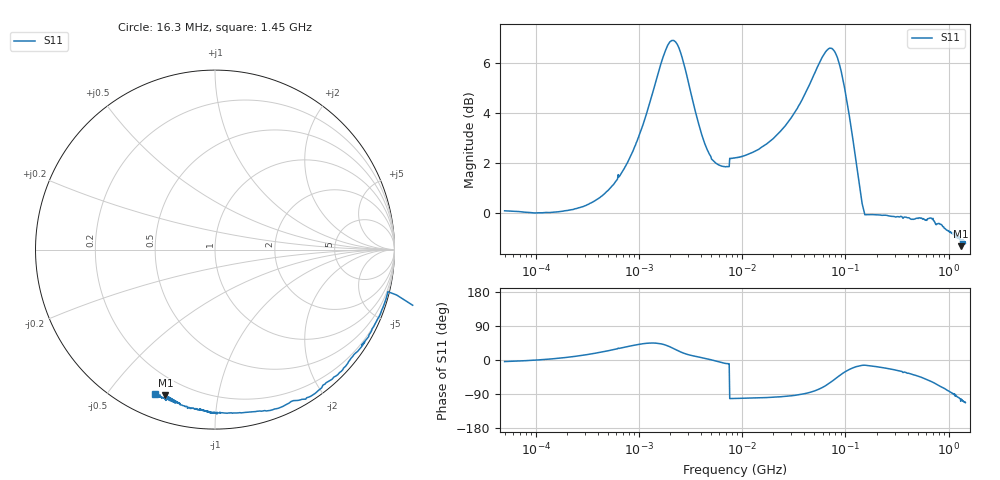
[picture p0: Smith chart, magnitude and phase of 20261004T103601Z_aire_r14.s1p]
! piloto_corto / aire / r14
# HZ S RI R 50
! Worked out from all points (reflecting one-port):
!   501 points, 50 kHz to 1.45 GHz, reference 50 ohm
!   lowest |S11| = -1.3 dB at 1.306 GHz (marker M1), VSWR 13.04, Z = 5.78 - j35.5 ohm
!   phase of S11 starts at -4 deg and turns -108 deg over the sweep
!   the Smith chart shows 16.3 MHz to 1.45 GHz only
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50000  1.007 -0.0727
183000  1.002 0.1017
658000  1.017 0.6158
1180000  1.132 1.093
1630000  1.457 1.346
1990000  1.798 1.259
2440000  1.96 0.8452
3430000  1.6 0.2897
4960000  1.296 0.0176
7300000  1.218 -0.2092
7750000  -0.2594 -1.257
8560000  -0.2547 -1.263
1.81e7  -0.2122 -1.368
3.16e7  -0.0981 -1.574
4.87e7  0.2341 -1.858
6.67e7  0.8973 -1.916
7.57e7  1.237 -1.722
8.92e7  1.501 -1.239
9.82e7  1.506 -0.935
1e8  1.496 -0.8801
1.18e8  1.311 -0.4966
1.36e8  1.101 -0.31
1.63e8  0.9601 -0.2478
4.06e8  0.8035 -0.5567
6.85e8  0.5226 -0.8218
1.018e9  0.1065 -0.9104
1.306e9  -0.2759 -0.812
1.45e9  -0.3317 -0.8032
